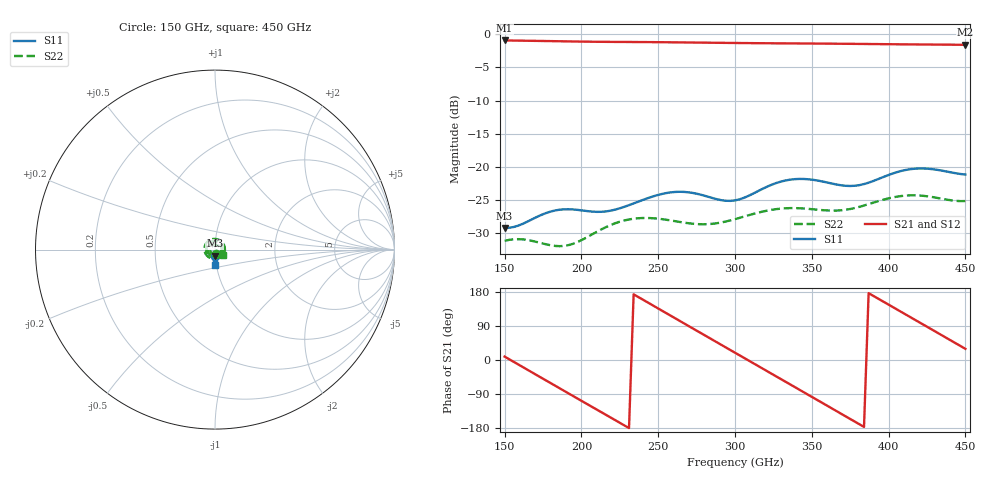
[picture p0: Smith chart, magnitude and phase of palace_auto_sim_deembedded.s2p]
! Created with skrf 1.11.0 (http://scikit-rf.org).
# GHz S DB R 50.0
!freq dBS11 angS11 dBS21 angS21 dBS12 angS12 dBS22 angS22
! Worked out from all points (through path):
!   101 points, 150 GHz to 450 GHz, reference 50 ohm
!   highest |S21| = -0.93 dB at 150 GHz (marker M1); lowest = -1.6 dB at 450 GHz (marker M2)
!   group delay of S21, straight-line fit = 6.48 ps
!   lowest |S11| = -29.2 dB at 150 GHz (marker M3), VSWR 1.07, Z = 49.7 - j3.45 ohm
!   |S11| at or under -10 dB: start of sweep to end of sweep
!   |S22| runs from -32.0 to -24.3 dB; largest |S21 - S12| = 1e-13
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150  -29.19 -92.7  -0.93 9.0  -0.93 9.0  -31.16 -76.3
165  -28.24 -84.5  -0.97 -26.0  -0.97 -26.0  -31.03 -133.0
180  -26.74 -86.6  -1.03 -61.0  -1.03 -61.0  -31.83 159.2
201  -26.58 -92.9  -1.10 -109.9  -1.10 -109.9  -30.94 49.8
216  -26.72 -88.9  -1.14 -144.8  -1.14 -144.8  -29.08 -21.4
228  -26.02 -84.8  -1.15 -172.7  -1.15 -172.7  -28.08 -73.8
240  -24.99 -84.1  -1.17 159.3  -1.17 159.3  -27.71 -125.1
252  -24.11 -87.2  -1.19 131.3  -1.19 131.3  -27.87 -177.5
264  -23.76 -92.3  -1.22 103.2  -1.22 103.2  -28.30 127.4
276  -24.10 -96.3  -1.25 75.2  -1.25 75.2  -28.64 69.0
300  -25.06 -87.5  -1.31 19.3  -1.31 19.3  -27.89 -50.3
321  -22.97 -81.0  -1.35 -29.6  -1.35 -29.6  -26.60 -147.7
336  -21.92 -86.5  -1.37 -64.6  -1.37 -64.6  -26.22 144.9
351  -21.96 -92.4  -1.39 -99.6  -1.39 -99.6  -26.40 75.5
363  -22.51 -93.3  -1.41 -127.6  -1.41 -127.6  -26.59 16.9
378  -22.85 -87.3  -1.44 -162.6  -1.44 -162.6  -26.20 -58.4
390  -22.13 -82.0  -1.47 169.4  -1.47 169.4  -25.40 -116.2
402  -21.05 -81.8  -1.50 141.4  -1.50 141.4  -24.64 -170.4
414  -20.35 -85.7  -1.52 113.5  -1.52 113.5  -24.29 137.3
426  -20.28 -90.2  -1.54 85.5  -1.54 85.5  -24.46 84.1
438  -20.71 -92.2  -1.56 57.5  -1.56 57.5  -24.94 27.5
450  -21.16 -89.8  -1.58 29.5  -1.58 29.5  -25.16 -33.2
